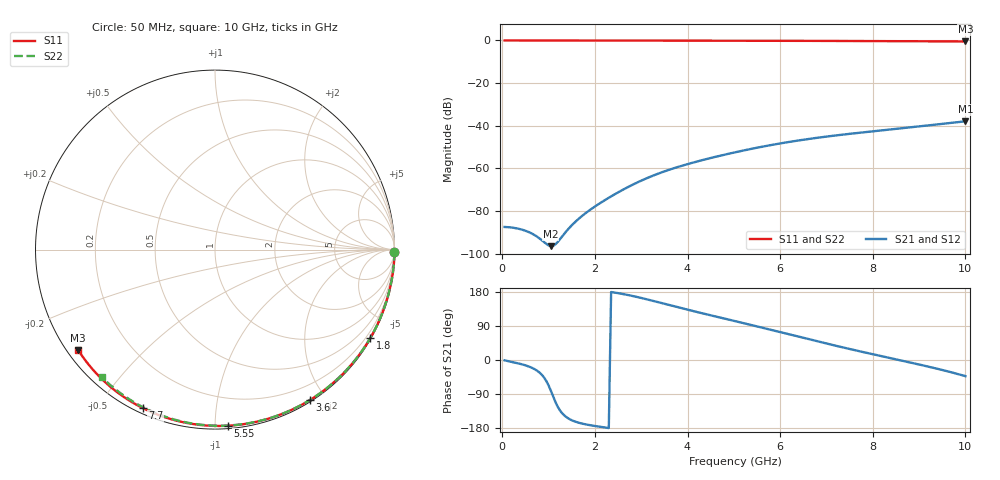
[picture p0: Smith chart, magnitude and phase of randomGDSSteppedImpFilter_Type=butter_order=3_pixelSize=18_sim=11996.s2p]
! freq	dB(S11)	phase(S11)	dB(S12)	phase(S12)
!  dB(S21)	phase(S21)	dB(S22)	phase(S22)
!S-par simulation data
#  GHz  S  DB  R 50
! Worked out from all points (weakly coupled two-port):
!   200 points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, 50 MHz to 10 GHz, reference 50 ohm
!   highest |S21| = -37.91 dB at 10 GHz (marker M1); lowest = -96.5 dB at 1.05 GHz (marker M2)
!   lowest |S11| = -0.5 dB at 10 GHz (marker M3), VSWR 35.77, Z = 1.55 - j16.3 ohm
!   |S11| at or under -10 dB: nowhere
!   |S22| runs from -0.4 to 0.0 dB; largest |S21 - S12| = 0
!   S11 on the Smith chart (normalised r, x): 50 MHz: open; 1.8 GHz: 0.03, -3.79; 3.6 GHz: 0.02, -1.82; 5.55 GHz: 0.02, -1.07; 7.7 GHz: 0.02, -0.64; 10 GHz: 0.03, -0.33
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0.05  -0.00 -0.8  -87.46 -0.9  -87.46 -0.9  -0.00 -0.8
0.55  -0.01 -9.2  -89.66 -16.2  -89.66 -16.2  -0.01 -8.3
1.05  -0.02 -17.4  -96.46 -81.5  -96.46 -81.5  -0.02 -15.9
1.75  -0.04 -28.8  -81.81 -168.6  -81.81 -168.6  -0.03 -26.2
1.8  -0.04 -29.6  -80.96 -169.9  -80.96 -169.9  -0.03 -27.0
1.85  -0.04 -30.4  -80.15 -171.0  -80.15 -171.0  -0.04 -27.7
2.3  -0.05 -37.5  -73.75 -179.6  -73.75 -179.6  -0.04 -34.3
2.75  -0.06 -44.6  -68.35 170.6  -68.35 170.6  -0.05 -40.8
3.05  -0.06 -49.3  -65.25 162.3  -65.25 162.3  -0.06 -45.0
3.4  -0.07 -54.6  -62.18 151.4  -62.18 151.4  -0.07 -50.0
3.6  -0.08 -57.7  -60.66 145.1  -60.66 145.1  -0.07 -52.8
3.9  -0.09 -62.2  -58.62 135.7  -58.62 135.7  -0.08 -56.9
4.25  -0.10 -67.4  -56.51 125.2  -56.51 125.2  -0.09 -61.7
5.05  -0.12 -78.9  -52.34 101.9  -52.34 101.9  -0.11 -72.3
5.55  -0.14 -85.9  -50.09 87.2  -50.09 87.2  -0.13 -78.8
6.1  -0.17 -93.5  -47.92 70.6  -47.92 70.6  -0.15 -85.8
6.7  -0.20 -101.5  -45.94 52.4  -45.94 52.4  -0.18 -93.2
7.2  -0.23 -108.1  -44.54 37.6  -44.54 37.6  -0.21 -99.2
7.7  -0.26 -114.6  -43.31 23.5  -43.31 23.5  -0.24 -105.2
8.35  -0.31 -122.9  -41.82 5.8  -41.82 5.8  -0.29 -112.8
9.2  -0.39 -133.6  -39.83 -17.5  -39.83 -17.5  -0.37 -122.5
10  -0.49 -143.8  -37.91 -42.6  -37.91 -42.6  -0.44 -131.6
